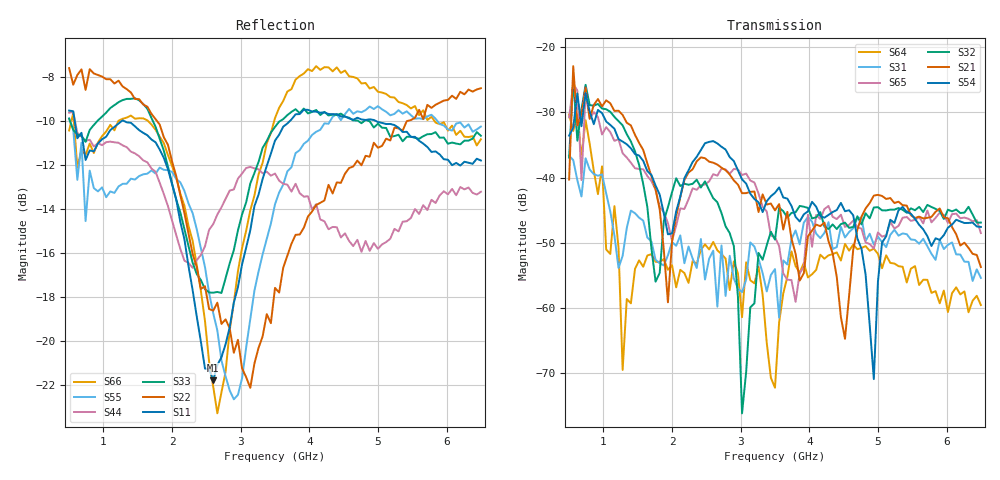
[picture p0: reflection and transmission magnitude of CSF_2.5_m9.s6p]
!Keysight Technologies,M9804A,MY58100912,A.14.10.03
!Date: Thursday, April 27, 2023 10:28:33
!Correction: S11(C  6-Port  )
!S12(C  6-Port  )
!S13(C  6-Port  )
!S14(C  6-Port  )
!S15(C  6-Port  )
!S16(C  6-Port  )
!S21(C  6-Port  )
!S22(C  6-Port  )
!S23(C  6-Port  )
!S24(C  6-Port  )
!S25(C  6-Port  )
!S26(C  6-Port  )
!S31(C  6-Port  )
!S32(C  6-Port  )
!S33(C  6-Port  )
!S34(C  6-Port  )
!S35(C  6-Port  )
!S36(C  6-Port  )
!S41(C  6-Port  )
!S42(C  6-Port  )
!S43(C  6-Port  )
!S44(C  6-Port  )
!S45(C  6-Port  )
!S46(C  6-Port  )
!S51(C  6-Port  )
!S52(C  6-Port  )
!S53(C  6-Port  )
!S54(C  6-Port  )
!S55(C  6-Port  )
!S56(C  6-Port  )
!S61(C  6-Port  )
!S62(C  6-Port  )
!S63(C  6-Port  )
!S64(C  6-Port  )
!S65(C  6-Port  )
!S66(C  6-Port  )
!S6P File: Measurement: :
# Hz S  RI  R 50
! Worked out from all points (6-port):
!   101 points, 500 MHz to 6.5 GHz, reference 50 ohm
!   strongest paths, dB at 500 MHz, 2 GHz, 3.5 GHz, 5 GHz, 6.5 GHz:
!     S54: -33.6, -48.6, -42.3, -55.9, -47.6
!     S21: -40.3, -49.8, -45.0, -42.6, -53.7
!     S32: -36.9, -42.2, -49.5, -44.5, -46.9
!     S65: -30.8, -49.7, -49.1, -48.4, -48.5
!     S31: -36.7, -49.9, -54.0, -49.0, -55.4
!     S64: -30.4, -53.4, -72.2, -51.7, -59.5
!   lowest |S11| = -21.8 dB at 2.6 GHz (marker M1), VSWR 1.18, Z = 42.7 + j1.93 ohm
!   |S11| at or under -10 dB: 581.2 MHz to 1.272 GHz (690.5 MHz wide, 74.5 % of centre); 1.293 GHz to 3.72 GHz (2.427 GHz wide, 96.8 % of centre); 4.964 GHz to end of sweep
